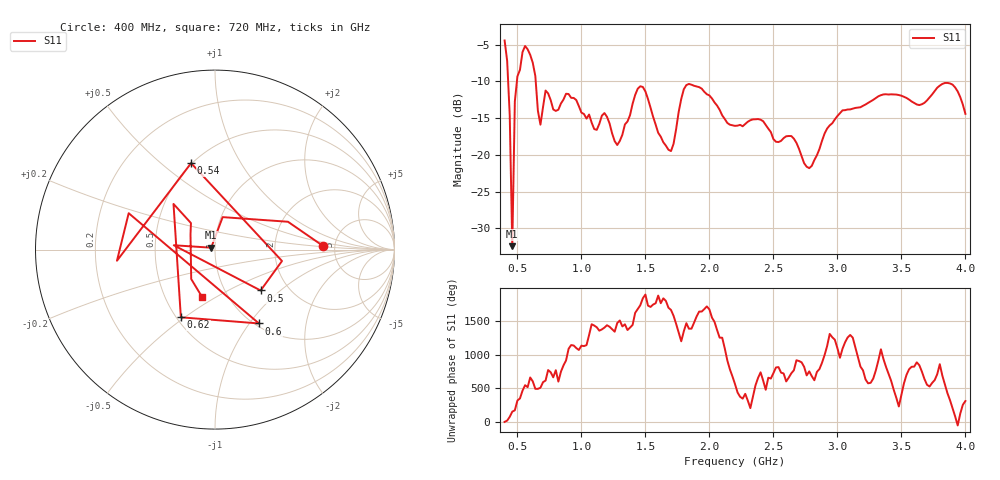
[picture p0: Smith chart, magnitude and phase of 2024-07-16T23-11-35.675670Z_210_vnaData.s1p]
!Created with skrf (http://scikit-rf.org).
# Hz S RI R 50.0
!freq ReS11 ImS11
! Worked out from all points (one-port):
!   181 points, 400 MHz to 4 GHz, reference 50 ohm
!   lowest |S11| = -32.4 dB at 460 MHz (marker M1), VSWR 1.05, Z = 47.9 + j1.02 ohm
!   |S11| at or under -10 dB: 427.5 MHz to 496.1 MHz (68.58 MHz wide, 14.9 % of centre); 643.1 MHz to end of sweep
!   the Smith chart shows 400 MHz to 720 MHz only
!   S11 on the Smith chart (normalised r, x): 400 MHz: 3.97, +0.28; 500 MHz: 1.45, -0.75; 540 MHz: 0.49, +0.64; 600 MHz: 1.04, -1.11; 620 MHz: 0.53, -0.48; 720 MHz: 0.76, -0.43
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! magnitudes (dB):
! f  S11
! 400 MHz  -4.4
! 420 MHz  -7.2
! 440 MHz  -14.6
! 460 MHz  -32.4
! 480 MHz  -12.7
! 500 MHz  -9.3
! 540 MHz  -6.0
! 600 MHz  -6.4
! 620 MHz  -7.5
! 680 MHz  -15.9
! 720 MHz  -11.3
! 800 MHz  -14.0
! 860 MHz  -12.5
! 1.1 GHz  -16.5
! 1.18 GHz  -14.3
! 1.3 GHz  -18.1
! 1.46 GHz  -10.7
! 1.68 GHz  -19.3
! 1.76 GHz  -14.2
! 1.84 GHz  -10.4
! 2.2 GHz  -16.1
! 2.66 GHz  -17.8
! 2.78 GHz  -21.8
! 2.92 GHz  -16.4
! 3.1 GHz  -13.8
! 3.56 GHz  -12.5
! 3.88 GHz  -10.3
! 4 GHz  -14.4
